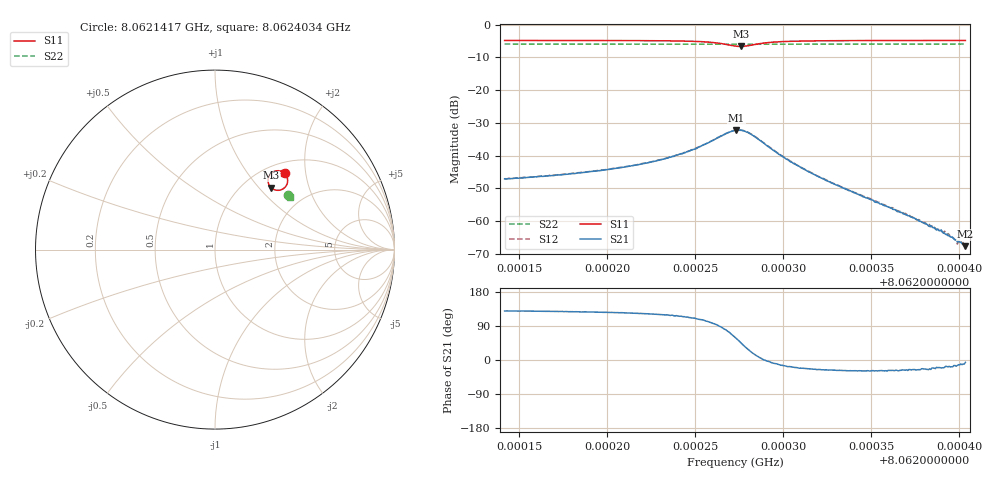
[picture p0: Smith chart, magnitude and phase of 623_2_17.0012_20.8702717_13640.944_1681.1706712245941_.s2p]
#  HZ  S  RI  R  50.00
! Rohde & Schwarz Vector Network Analyzer
! Rohde-Schwarz,ZNB20-2Port,1311601062101988,3.16
! Created: UTC 3/20/2024, 11:20:01 PM
! freq[Hz]  re:S11  im:S11  re:S21  im:S21  re:S12  im:S12  re:S22  im:S22
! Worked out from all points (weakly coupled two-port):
!   401 points, 8.0621417 GHz to 8.0624034 GHz, reference 50 ohm
!   highest |S21| = -32.19 dB at 8.0622732 GHz (marker M1); lowest = -67.7 dB at 8.0624034 GHz (marker M2)
!   lowest |S11| = -6.6 dB at 8.0622758 GHz (marker M3), VSWR 2.74, Z = 66.2 + j58.4 ohm
!   |S11| at or under -10 dB: nowhere
!   |S22| runs from -6.0 to -5.9 dB; largest |S21 - S12| = 0.0014
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8.06214166e9  0.3873 0.4263  -0.0028 0.0034  -0.00261 0.00356  0.4072 0.3037
8.0621855e9  0.3927 0.4198  -0.00327 0.00438  -0.00307 0.00459  0.4088 0.3013
8.06220512e9  0.396 0.4153  -0.00367 0.00521  -0.00336 0.00545  0.4095 0.3
8.06222933e9  0.4013 0.4049  -0.00425 0.00732  -0.00385 0.00761  0.4104 0.2985
8.06224176e9  0.4041 0.3944  -0.00459 0.00957  -0.00399 0.00989  0.4107 0.2974
8.06224961e9  0.4049 0.3834  -0.00438 0.0117  -0.0036 0.0122  0.411 0.2964
8.0622627e9  0.3923 0.3499  -0.000581 0.0186  0.000559 0.0189  0.4104 0.2947
8.06226859e9  0.366 0.3325  0.00576 0.0217  0.00697 0.0214  0.4091 0.2939
8.06227251e9  0.3369 0.3319  0.0122 0.0209  0.0133 0.0204  0.408 0.294
8.06227317e9  0.3317 0.3335  0.0133 0.0207  0.0144 0.0199  0.4078 0.2942
8.06227578e9  0.3128 0.3451  0.0171 0.0174  0.018 0.0167  0.4074 0.2947
8.06228102e9  0.2955 0.383  0.0198 0.00865  0.0205 0.00777  0.407 0.2966
8.06229018e9  0.3151 0.4268  0.0144 -0.000472  0.0146 -0.00122  0.4089 0.2976
8.06230261e9  0.3433 0.4391  0.00817 -0.0026  0.00816 -0.00299  0.4107 0.2972
8.06231635e9  0.3592 0.439  0.00485 -0.00216  0.00478 -0.00245  0.4119 0.2962
8.06233401e9  0.3698 0.4361  0.00281 -0.00148  0.00276 -0.00169  0.4129 0.2952
8.06236018e9  0.3779 0.4324  0.00142 -0.000745  0.00138 -0.000824  0.4141 0.2938
8.06237065e9  0.3802 0.431  0.00106 -0.000558  0.00104 -0.000628  0.4145 0.2931
8.06238897e9  0.3832 0.4291  0.000663 -0.000244  0.000668 -0.000316  0.4152 0.2922
8.06239289e9  0.3837 0.4287  0.000597 -0.000186  0.000555 -0.000255  0.4153 0.2918
8.06239878e9  0.3847 0.4281  0.000467 -0.000119  0.000428 -0.000113  0.4155 0.2916
8.06240336e9  0.3851 0.4277  0.000408 -4.55e-05  0.000435 -0.000106  0.4159 0.2914
